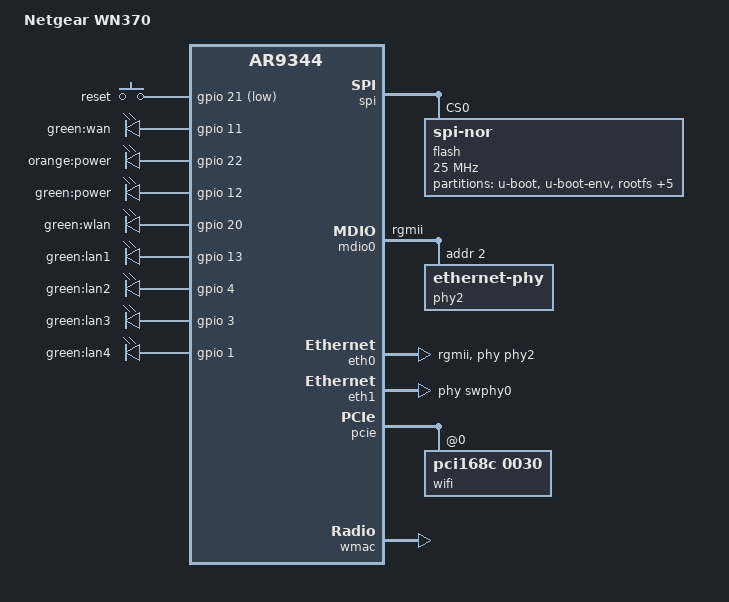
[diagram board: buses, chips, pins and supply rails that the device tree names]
// SPDX-License-Identifier: GPL-2.0-or-later OR MIT

#include "ar9344.dtsi"

#include <dt-bindings/gpio/gpio.h>
#include <dt-bindings/input/input.h>

/ {
	model = "Netgear WN370";
	compatible = "netgear,wn370", "qca,ar9344";

	aliases {
		led-boot = &led_power_orange;
		led-failsafe = &led_power_orange;
		led-running = &led_power_green;
		led-upgrade = &led_power_orange;
	};

	keys {
		compatible = "gpio-keys";

		reset {
			label = "reset";
			linux,code = <KEY_RESTART>;
			gpios = <&gpio 21 GPIO_ACTIVE_LOW>;
			debounce-interval = <60>;
		};

	};

	leds {
		compatible = "gpio-leds";

		wan {
			label = "green:wan";
			gpios = <&gpio 11 GPIO_ACTIVE_HIGH>;
		};

		led_power_orange: power_orange {
			label = "orange:power";
			gpios = <&gpio 22 GPIO_ACTIVE_HIGH>;
			panic-indicator;
		};

		led_power_green: power_green {
			label = "green:power";
			gpios = <&gpio 12 GPIO_ACTIVE_HIGH>;
		};		

		wlan {
			label = "green:wlan";
			gpios = <&gpio 20 GPIO_ACTIVE_HIGH>;
			linux,default-trigger = "phy0tpt";
		};

		lan1 {
			label = "green:lan1";
			gpios = <&gpio 13 GPIO_ACTIVE_HIGH>;
		};

		lan2 {
			label = "green:lan2";
			gpios = <&gpio 4 GPIO_ACTIVE_HIGH>;
		};

		lan3 {
			label = "green:lan3";
			gpios = <&gpio 3 GPIO_ACTIVE_HIGH>;
		};

		lan4 {
			label = "green:lan4";
			gpios = <&gpio 1 GPIO_ACTIVE_HIGH>;
		};		

	};
};

&gpio {
	status = "okay";
};

&ref {
	clock-frequency = <40000000>;
};

&spi {
	status = "okay";
	num-cs = <1>;

	flash@0 {
		compatible = "jedec,spi-nor";
		reg = <0>;
		spi-max-frequency = <25000000>;

		partitions {
			compatible = "fixed-partitions";
			#address-cells = <1>;
			#size-cells = <1>;

			partition@0 {
				label = "u-boot";
				reg = <0x000000 0x040000>;
				read-only;
			};

			partition@40000 {
				label = "u-boot-env";
				reg = <0x040000 0x010000>;
				read-only;
			};

			partition@50000 {
				label = "rootfs";
				reg = <0x050000 0x800000>;
			};

			partition@850000 {
				label = "vmlinux.lzma.uImage";
				reg = <0x850000 0x290000>;
				read-only;
			};

			partition@ae0000 {
				label = "FT_CONF";
				reg = <0xae0000 0x400000>;
				read-only;
			};

			partition@ee0000 {
				label = "manuf";
				reg = <0xee0000 0x010000>;
				read-only;
			};

			partition@ef0000 {
				label = "NG_OOPS";
				reg = <0xef0000 0x100000>;
				read-only;
			};

			art: partition@ff0000 {
				label = "ART";
				reg = <0xff0000 0x010000>;
				read-only;
			};
		};
	};
};


&mdio0 {
	status = "okay";
	phy-mode = "rgmii";
	phy2: ethernet-phy@2 {
		reg = <2>;
		eee-broken-100tx;
		eee-broken-1000t;
	};
};

&eth0 {
	status = "okay";

	phy-handle = <&phy2>;
	phy-mode = "rgmii";

	nvmem-cells = <&macaddr_art_0>;
	nvmem-cell-names = "mac-address";
 
	pll-data = <0x0e000000 0x00000101 0x00001313>;

	gmac-config {
		device = <&gmac>;
		rgmii-gmac0 = <1>;
		rxdv-delay = <3>;
		rxd-delay = <3>;
	};
};

&eth1 {
	status = "okay";
 
	nvmem-cells = <&macaddr_art_6>;
	nvmem-cell-names = "mac-address";

	phy-handle = <&swphy0>;
};

&pcie {
	status = "okay";

	wifi@0,0 {
		compatible = "pci168c,0030";
		reg = <0x0000 0 0 0 0>;
		qca,no-eeprom;
	};
};


&wmac {
	status = "okay";

	mtd-cal-data = <&art 0x1000>;
};

&art {
	compatible = "nvmem-cells";
	#address-cells = <1>;
	#size-cells = <1>;

	macaddr_art_0: macaddr@0 {
		reg = <0x0 0x6>;
	};

	macaddr_art_6: macaddr@6 {
		reg = <0x6 0x6>;
	};
};
